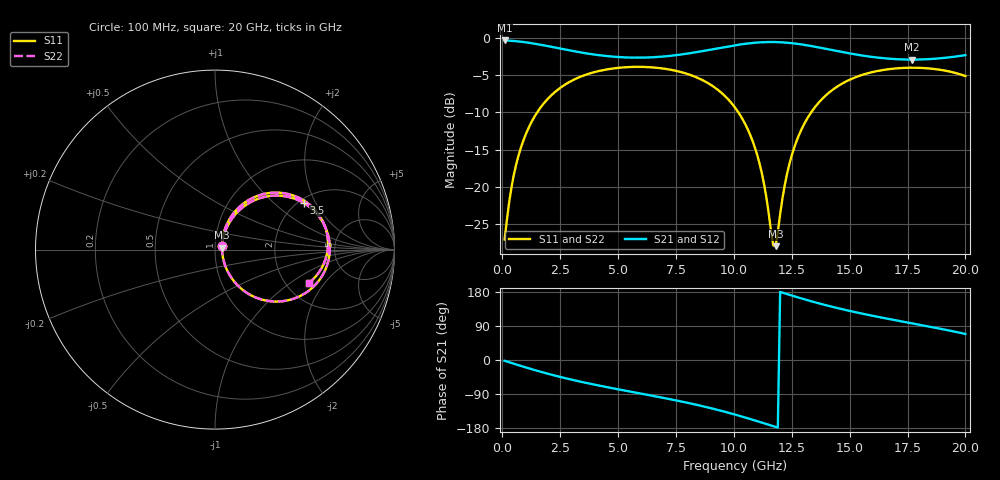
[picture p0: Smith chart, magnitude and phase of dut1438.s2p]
! Touchstone file exported from HFSS 2026.1.0
!  File:  C:/ffzhzh/LocalFiles/Ansys_Project_Files/temp_train_TSV_RDL_1438_1783356966_50076.aedt
!  Generated:  01:08:49 AM Jul  7, 2026
!  Design:  TSV_RDL
!  Project:  temp_train_TSV_RDL_1438_1783356966_50076
! Variables:
!  h_bsmrdl = 4.89um
!  h_ox = 20um
!  h_rdl = 5um
!  h_sub = 68.27um
!  h_tmrdl = 3.43um
!  h_tsv = 68.27um
!  h_via = 3um
!  l_bsmrdl = 497.26um
!  l_sub = 5039.02um
!  l_tmrdl = 770.07um
!  m_sub = 200um
!  pitch = 44.83um
!  r_tsv = 9.76um
!  s_tmrdl = 10um
!  w_bsmrdl = 11.04um
!  w_sub = 500um
!  w_tmrdl = 11.28um
!  x_tsv_center1 = 775.71um
!  x_tsv_center2 = 1284.01um
!  x_tsv_center3 = 2065.36um
!  x_tsv_center4 = 2573.66um
!  x_tsv_center5 = 3355.01um
!  x_tsv_center6 = 3863.31um
# GHz S MA R 50.000000
! Terminal data exported
! Port[1] = TM_RDL1_1_T1
! Port[2] = TM_RDL5_1_T1
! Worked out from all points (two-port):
!   200 points, 100 MHz to 20 GHz, reference 50 ohm
!   highest |S21| = -0.34 dB at 100 MHz (marker M1); lowest = -2.9 dB at 17.7 GHz (marker M2)
!   |S21| within 3 dB of the highest: start of sweep to end of sweep
!   lowest |S11| = -28.0 dB at 11.8 GHz (marker M3), VSWR 1.08, Z = 54 + j1.17 ohm
!   |S11| at or under -10 dB: start of sweep to 1.506 GHz; 10.2 GHz to 13.34 GHz (3.142 GHz wide, 26.7 % of centre)
!   |S22| runs from -27.9 to -3.9 dB; largest |S21 - S12| = 1.6e-14
!   S11 on the Smith chart (normalised r, x): 100 MHz: 1.08, +0.05; 3.5 GHz: 2.13, +1.61; 20 GHz: 2.63, -1.42
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0.1  0.04431 30.0  0.9621 -2.0  0.9621 -2.0  0.04431 30.0
! Gamma 0 0 0 0
! Port Impedance 50 0 50 0
0.5  0.1207 61.1  0.9541 -9.9  0.9541 -9.9  0.1207 61.1
0.8  0.1826 61.7  0.9438 -15.6  0.9438 -15.6  0.1826 61.7
1.2  0.261 58.1  0.9256 -23.0  0.9256 -23.0  0.261 58.1
2.2  0.4236 44.7  0.8674 -40.0  0.8674 -40.0  0.4236 44.8
3.5  0.5586 27.7  0.7942 -58.9  0.7942 -58.9  0.5586 27.7
5.1  0.632 9.2  0.7431 -78.5  0.7431 -78.5  0.632 9.2
6.8  0.6275 -9.3  0.7472 -98.1  0.7472 -98.1  0.6275 -9.3
8.7  0.516 -32.1  0.8188 -122.6  0.8188 -122.6  0.516 -32.0
10.1  0.3326 -51.1  0.8954 -144.8  0.8954 -144.8  0.3326 -51.1
11  0.1655 -60.1  0.9311 -161.2  0.9311 -161.2  0.1655 -60.0
11.3  0.1054 -57.5  0.937 -166.9  0.937 -166.9  0.1054 -57.5
11.7  0.04053 -13.6  0.939 -174.6  0.939 -174.6  0.0406 -13.5
11.8  0.03997 15.8  0.9384 -176.5  0.9384 -176.5  0.04005 15.8
12.1  0.08381 58.5  0.934 177.7  0.934 177.7  0.08387 58.5
12.4  0.1427 64.8  0.926 172.0  0.926 172.0  0.1427 64.8
12.8  0.2205 63.3  0.9104 164.6  0.9104 164.6  0.2205 63.3
13.4  0.3264 56.4  0.8794 154.0  0.8794 154.0  0.3264 56.4
14.8  0.5059 38.0  0.7981 132.3  0.7981 132.3  0.5059 38.0
16.7  0.6174 16.1  0.7259 108.2  0.7259 108.2  0.6174 16.1
17.7  0.6312 5.5  0.7157 96.6  0.7157 96.6  0.6312 5.5
20  0.5545 -19.7  0.767 68.8  0.767 68.8  0.5544 -19.6
